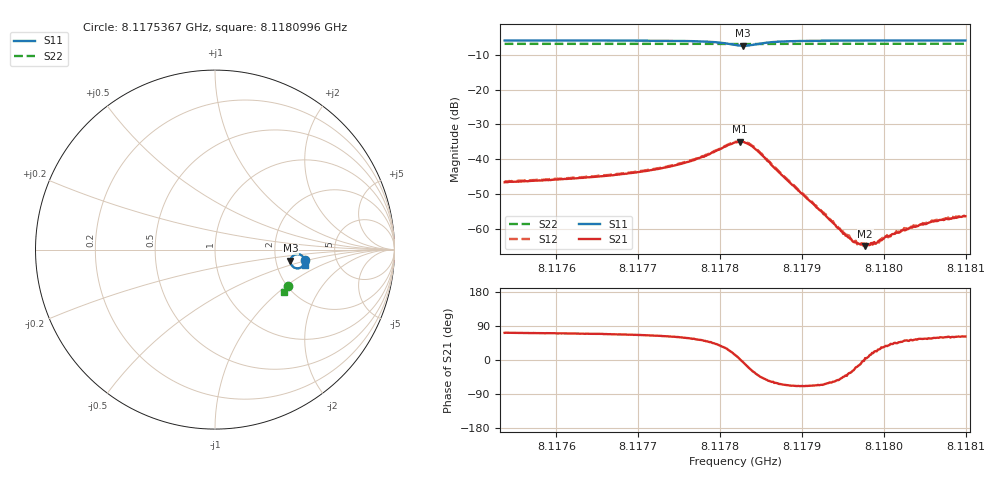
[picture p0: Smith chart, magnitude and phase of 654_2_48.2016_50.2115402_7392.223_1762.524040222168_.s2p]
#  HZ  S  RI  R  50.00
! Rohde & Schwarz Vector Network Analyzer
! Rohde-Schwarz,ZNB20-2Port,1311601062101988,3.16
! Created: UTC 3/20/2024, 12:05:21 PM
! freq[Hz]  re:S11  im:S11  re:S21  im:S21  re:S12  im:S12  re:S22  im:S22
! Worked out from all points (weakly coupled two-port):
!   401 points, 8.1175367 GHz to 8.1180996 GHz, reference 50 ohm
!   highest |S21| = -34.96 dB at 8.1178238 GHz (marker M1); lowest = -64.9 dB at 8.1179772 GHz (marker M2)
!   lowest |S11| = -7.4 dB at 8.117828 GHz (marker M3), VSWR 2.48, Z = 121 - j18.2 ohm
!   |S11| at or under -10 dB: nowhere
!   |S22| runs from -6.9 to -6.9 dB; largest |S21 - S12| = 0.00069
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8.1175367e9  0.5035 -0.0578  0.00148 0.00446  0.00158 0.00456  0.4042 -0.2038
8.11763099e9  0.5015 -0.0681  0.00189 0.00509  0.00195 0.00522  0.4015 -0.2098
8.11768587e9  0.499 -0.0758  0.00244 0.00574  0.00251 0.00588  0.3998 -0.2134
8.11772527e9  0.4954 -0.0832  0.00325 0.00658  0.00338 0.0067  0.3983 -0.216
8.1177703e9  0.4845 -0.0961  0.00583 0.00818  0.00589 0.00838  0.3965 -0.2191
8.11780266e9  0.4554 -0.1042  0.0119 0.00844  0.0121 0.00876  0.394 -0.221
8.11781814e9  0.4282 -0.0888  0.017 0.0041  0.0173 0.00432  0.3926 -0.221
8.11782377e9  0.4215 -0.0746  0.0179 0.000847  0.0183 0.000796  0.3924 -0.2207
8.11782799e9  0.4203 -0.062  0.0178 -0.00177  0.0182 -0.00178  0.3923 -0.2203
8.11783503e9  0.4276 -0.0422  0.0153 -0.00584  0.016 -0.00594  0.3925 -0.2199
8.11784347e9  0.4454 -0.0282  0.0113 -0.00817  0.0115 -0.00836  0.3932 -0.2201
8.11787021e9  0.4847 -0.0341  0.00327 -0.006  0.00327 -0.00624  0.3941 -0.2225
8.11791242e9  0.4982 -0.0537  0.000903 -0.00219  0.000917 -0.00227  0.3932 -0.226
8.11795323e9  0.5002 -0.0642  0.000611 -0.000524  0.000624 -0.000532  0.3918 -0.2287
8.11796449e9  0.5005 -0.0664  0.000596 -0.000252  0.000622 -0.000232  0.3915 -0.2293
8.11797715e9  0.5006 -0.0687  0.000567 5.05e-05  0.000607 2.25e-05  0.391 -0.2303
8.11798419e9  0.5006 -0.0698  0.000602 0.000151  0.000614 0.000145  0.3908 -0.2308
8.11798982e9  0.5005 -0.0707  0.000563 0.000246  0.000605 0.000239  0.3906 -0.2312
8.1180067e9  0.5006 -0.0732  0.000614 0.000505  0.000608 0.000509  0.39 -0.2322
8.11802218e9  0.5005 -0.0752  0.000642 0.000712  0.000648 0.000719  0.3894 -0.2332
8.11806158e9  0.5001 -0.08  0.000675 0.0011  0.000696 0.00113  0.3881 -0.2359
8.11809958e9  0.4996 -0.084  0.000718 0.00135  0.000727 0.00135  0.3868 -0.2382
